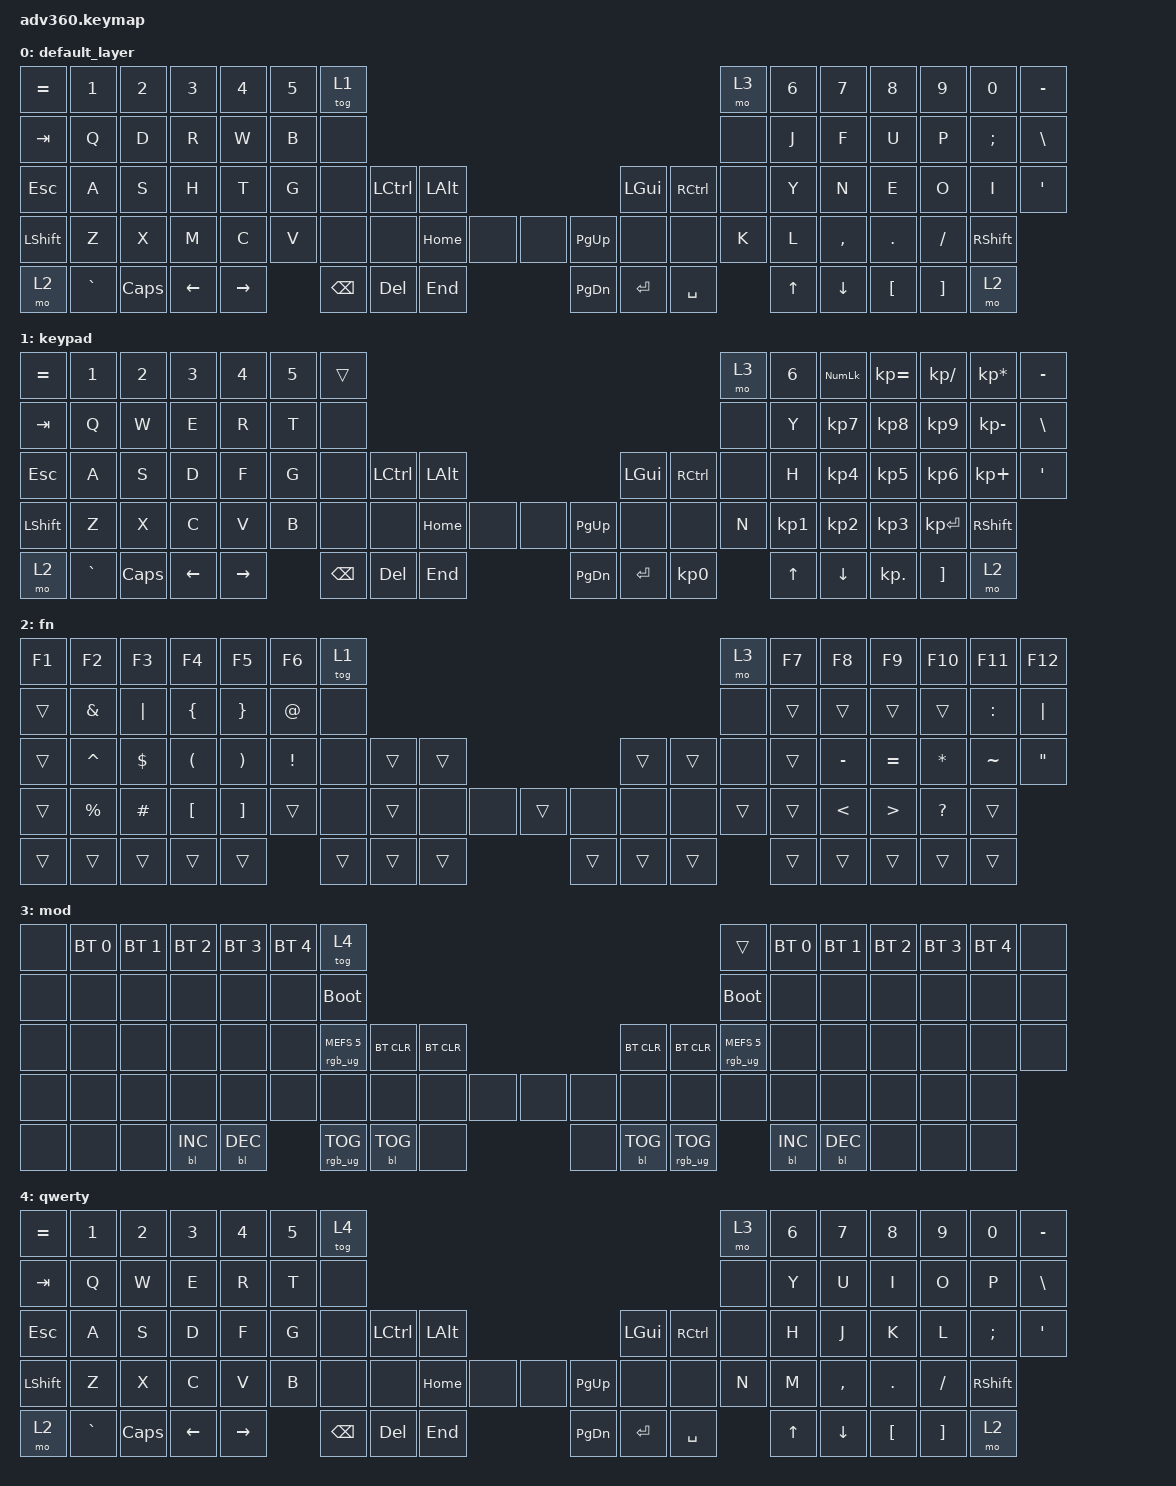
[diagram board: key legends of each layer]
#include <behaviors.dtsi>
#include <dt-bindings/zmk/keys.h>
#include <dt-bindings/zmk/bt.h>
#include <dt-bindings/zmk/rgb.h>
#include <dt-bindings/zmk/backlight.h>

/ {
    behaviors {
      #include "macros.dtsi"

      hm: homerow_mods {
          compatible = "zmk,behavior-hold-tap";
          label = "HOMEROW_MODS";
          #binding-cells = <2>;
          tapping-term-ms = <200>;
          quick_tap_ms = <175>;
          flavor = "tap-preferred";
          bindings = <&kp>, <&kp>;
      };
    };

  keymap {
    compatible = "zmk,keymap";

    default_layer {
      bindings = <
        &kp EQUAL &kp N1    &kp N2   &kp N3   &kp N4    &kp N5 &tog 1                                                                       &mo 3 &kp N6 &kp N7 &kp N8    &kp N9   &kp N0   &kp MINUS
        &kp TAB   &kp Q     &kp D    &kp R    &kp W     &kp B  &none                                                                        &none &kp J  &kp F  &kp U     &kp P    &kp SEMI &kp BSLH
        &kp ESC   &kp A     &kp S    &kp H    &kp T     &kp G  &none           &kp LCTRL &kp LALT             &kp LGUI  &kp RCTRL           &none &kp Y  &kp N  &kp E     &kp O    &kp I    &kp SQT
        &kp LSHFT &kp Z     &kp X    &kp M    &kp C     &kp V         &none    &none     &kp HOME &none &none &kp PG_UP &none     &none           &kp K  &kp L  &kp COMMA &kp DOT  &kp FSLH &kp RSHFT
        &mo 2     &kp GRAVE &kp CAPS &kp LEFT &kp RIGHT               &kp BSPC &kp DEL   &kp END              &kp PG_DN &kp ENTER &kp SPACE              &kp UP &kp DOWN  &kp LBKT &kp RBKT &mo 2
      >;
    };
    keypad {
      bindings = <
        &kp EQUAL &kp N1    &kp N2   &kp N3   &kp N4     &kp N5 &trans                                                                       &mo 3 &kp N6 &kp KP_NUM &kp KP_EQUAL &kp KP_DIVIDE &kp KP_MULTIPLY &kp MINUS
        &kp TAB   &kp Q     &kp W    &kp E    &kp R      &kp T  &none                                                                        &none &kp Y  &kp KP_N7  &kp KP_N8    &kp KP_N9     &kp KP_MINUS    &kp BSLH
        &kp ESC   &kp A     &kp S    &kp D    &kp F      &kp G  &none           &kp LCTRL &kp LALT             &kp LGUI  &kp RCTRL           &none &kp H  &kp KP_N4  &kp KP_N5    &kp KP_N6     &kp KP_PLUS     &kp SQT
        &kp LSHFT &kp Z     &kp X    &kp C    &kp V      &kp B         &none    &none     &kp HOME &none &none &kp PG_UP &none     &none           &kp N  &kp KP_N1  &kp KP_N2    &kp KP_N3     &kp KP_ENTER    &kp RSHFT
        &mo 2     &kp GRAVE &kp CAPS &kp LEFT &kp RIGHT                &kp BSPC &kp DEL   &kp END              &kp PG_DN &kp ENTER &kp KP_N0              &kp UP     &kp DOWN     &kp KP_DOT    &kp RBKT        &mo 2
      >;
    };
    fn {
      bindings = <
        &kp F1 &kp F2    &kp F3   &kp F4   &kp F5   &kp F6   &tog 1                                                       &mo 3  &kp F7 &kp F8    &kp F9    &kp F10   &kp F11   &kp F12
        &trans &kp AMPS  &kp PIPE &kp LBRC &kp RBRC &kp AT   &none                                                        &none  &trans &trans    &trans    &trans    &kp COLON &kp PIPE
        &trans &kp CARET &kp DLLR &kp LPAR &kp RPAR &kp EXCL &none         &trans &trans             &trans &trans        &none  &trans &kp MINUS &kp EQUAL &kp ASTRK &kp TILDE &kp DQT
        &trans &kp PRCNT &kp HASH &kp LBKT &kp RBKT &trans          &none  &trans &none &none &trans &none  &none  &none         &trans &trans    &kp LT    &kp GT    &kp QMARK &trans
        &trans &trans    &trans   &trans   &trans                   &trans &trans &trans             &trans &trans &trans               &trans    &trans    &trans    &trans    &trans
      >;
    };
    mod {
      bindings = <
        &none &bt BT_SEL 0 &bt BT_SEL 1 &bt BT_SEL 2 &bt BT_SEL 3 &bt BT_SEL 4 &tog 4                                                                                                         &trans                 &bt BT_SEL 0 &bt BT_SEL 1 &bt BT_SEL 2 &bt BT_SEL 3 &bt BT_SEL 4 &none
        &none &none        &none        &none        &none        &none        &bootloader                                                                                                    &bootloader            &none        &none        &none        &none        &none        &none
        &none &none        &none        &none        &none        &none        &rgb_ug RGB_MEFS_CMD 5                 &bt BT_CLR &bt BT_CLR             &bt BT_CLR &bt BT_CLR                 &rgb_ug RGB_MEFS_CMD 5 &none        &none        &none        &none        &none        &none
        &none &none        &none        &none        &none        &none                               &none           &none      &none      &none &none &none      &none      &none                                  &none        &none        &none        &none        &none        &none
        &none &none        &none        &bl BL_INC   &bl BL_DEC                                       &rgb_ug RGB_TOG &bl BL_TOG &none                  &none      &bl BL_TOG &rgb_ug RGB_TOG                                     &bl BL_INC   &bl BL_DEC   &none        &none        &none
      >;
    };
    qwerty {
      bindings = <
        &kp EQUAL &kp N1    &kp N2   &kp N3   &kp N4    &kp N5 &tog 4                                                                       &mo 3 &kp N6 &kp N7 &kp N8    &kp N9   &kp N0   &kp MINUS
        &kp TAB   &kp Q     &kp W    &kp E    &kp R     &kp T  &none                                                                        &none &kp Y  &kp U  &kp I     &kp O    &kp P    &kp BSLH
        &kp ESC   &kp A     &kp S    &kp D    &kp F     &kp G  &none           &kp LCTRL &kp LALT             &kp LGUI  &kp RCTRL           &none &kp H  &kp J  &kp K     &kp L    &kp SEMI &kp SQT
        &kp LSHFT &kp Z     &kp X    &kp C    &kp V     &kp B         &none    &none     &kp HOME &none &none &kp PG_UP &none     &none           &kp N  &kp M  &kp COMMA &kp DOT  &kp FSLH &kp RSHFT
        &mo 2     &kp GRAVE &kp CAPS &kp LEFT &kp RIGHT               &kp BSPC &kp DEL   &kp END              &kp PG_DN &kp ENTER &kp SPACE              &kp UP &kp DOWN  &kp LBKT &kp RBKT &mo 2
      >;
    };
  };
};
